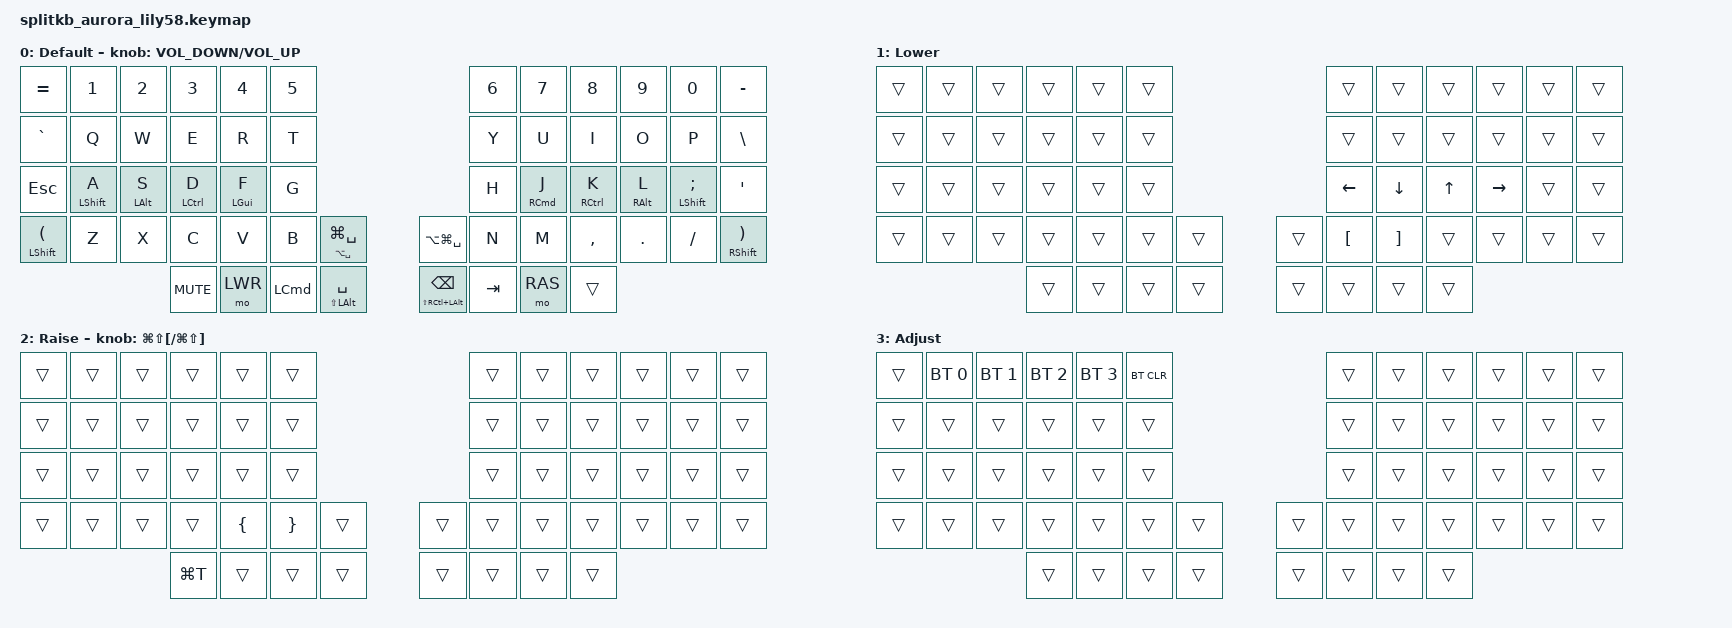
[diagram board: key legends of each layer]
/*
 * Copyright (c) 2020 The ZMK Contributors
 *
 * SPDX-License-Identifier: MIT
 */

#include <behaviors.dtsi>
#include <dt-bindings/zmk/keys.h>
#include <dt-bindings/zmk/bt.h>
#include <dt-bindings/zmk/ext_power.h>

#define DEFAULT 0
#define LWR     1
#define RAS     2
#define ADJ     3

/ {
    macros {
        hem: hem {
            label = "hem";
            compatible = "zmk,behavior-macro";
            #binding-cells = <0>;
            bindings
                = <&macro_tap &kp BSPC>
                , <&macro_wait_time 100>
                , <&macro_press &kp LSHFT &kp LCTRL &kp LALT>
                ;
        };
    };
};

/ {
    combos {
        compatible = "zmk,combos";
        combo_esc {
            timeout-ms = <50>;
            key-positions = <53 54>;
            bindings = <&kp ENTER>;
        };
    };
};

/ {
    conditional_layers {
        compatible = "zmk,conditional-layers";
        tri_layer {
            if-layers = <1 2>;
            then-layer = <3>;
        };
    };
};

/ {
    behaviors {
        hm: homerow_mods {
            compatible = "zmk,behavior-hold-tap";
            label = "HOMEROW_MODS";
            #binding-cells = <2>;
            tapping-term-ms = <200>;
            quick_tap_ms = <0>;
            flavor = "tap-preferred";
            bindings = <&kp>, <&kp>;
        };
        hs: homerow_shift {
            compatible = "zmk,behavior-hold-tap";
            label = "HOMEROW_MODS";
            #binding-cells = <2>;
            tapping-term-ms = <250>;
            quick_tap_ms = <0>;
            flavor = "tap-preferred";
            bindings = <&kp>, <&kp>;
        };
        am: amethyst_modifyers {
            compatible = "zmk,behavior-hold-tap";
            label = "AMETHYST_MODIFYER";
            #binding-cells = <2>;
            tapping-term-ms = <250>;
            quick_tap_ms = <0>;
            flavor = "tap-preferred";
            bindings = <&kp>, <&kp>;
        };
    };

	keymap {
		compatible = "zmk,keymap";

		default_layer {
            label = "Default";
			bindings = <
&kp EQUAL &kp N1        &kp N2      &kp N3      &kp N4         &kp N5                     									    &kp N6 		   &kp N7       &kp N8      &kp N9      &kp N0           &kp MINUS
&kp GRAVE &kp Q         &kp W       &kp E       &kp R          &kp T                      										&kp Y  		   &kp U        &kp I       &kp O       &kp P            &kp BSLH
&kp ESC   &hs LSHFT A   &hm LALT S  &hm LCTL D  &hm LGUI F     &kp G                      										&kp H  	       &hm RCMD J   &hm RCTRL K &hm RALT L  &hs LSHFT SEMI   &kp SQT
&mt LSHFT LPAR &kp Z    &kp X       &kp C       &kp V          &kp B       &mt LA(SPACE) LG(SPACE) 		&kp LA(LG(SPACE))       &kp N  	       &kp M        &kp COMMA   &kp DOT     &kp FSLH         &mt RSHFT RPAR
                                    &kp C_MUTE	&mo LWR		   &kp LCMD    &am LS(LALT) SPACE           &am LS(RC(LALT)) BSPC   &kp TAB        &mo RAS      &trans     
			>;
            sensor-bindings = <&inc_dec_kp C_VOLUME_DOWN C_VOLUME_UP>;
		};

		lower_layer {
            label = "Lower";
			bindings = <
&trans    &trans    &trans      &trans      &trans      &trans                                                                  &trans    &trans    &trans      &trans      &trans      &trans                       
&trans    &trans    &trans      &trans      &trans      &trans                                                                  &trans    &trans    &trans      &trans      &trans      &trans                       
&trans    &trans    &trans      &trans      &trans      &trans                                                                  &kp LEFT  &kp DOWN  &kp UP      &kp RIGHT   &trans      &trans                       
&trans    &trans    &trans      &trans      &trans      &trans    &trans                                              &trans    &kp LBKT  &kp RBKT  &trans      &trans      &trans      &trans
                                &trans      &trans      &trans    &trans                                              &trans    &trans    &trans    &trans
			>;
		};

		raise_layer {
            label = "Raise";
			bindings = <
&trans    &trans    &trans      &trans      &trans      &trans                                                                  &trans    &trans    &trans      &trans      &trans      &trans                       
&trans    &trans    &trans      &trans      &trans      &trans                                                                  &trans    &trans    &trans      &trans      &trans      &trans                       
&trans    &trans    &trans      &trans      &trans      &trans                                                                  &trans    &trans    &trans      &trans      &trans      &trans                       
&trans    &trans    &trans      &trans      &kp LBRC    &kp RBRC  &trans                                              &trans    &trans    &trans    &trans      &trans      &trans      &trans
                                &kp LG(T)   &trans      &trans    &trans                                              &trans    &trans    &trans    &trans
			>;
            sensor-bindings = <&inc_dec_kp LG(LS(LBKT)) LG(LS(RBKT))>;
		};

		adjust_layer {
            label = "Adjust";
			bindings = <
&trans 	  &bt BT_SEL 0     &bt BT_SEL 1      &bt BT_SEL 2     &bt BT_SEL 3 	&bt BT_CLR                                          &trans    &trans    &trans      &trans      &trans      &trans
&trans    &trans           &trans            &trans           &trans        &trans                                              &trans    &trans    &trans      &trans      &trans      &trans                       
&trans    &trans           &trans            &trans           &trans        &trans                                              &trans    &trans    &trans      &trans      &trans      &trans                       
&trans    &trans           &trans            &trans           &trans        &trans      &trans                        &trans    &trans    &trans    &trans      &trans      &trans      &trans
                                             &trans           &trans        &trans      &trans                        &trans    &trans    &trans    &trans
			>;
		};
		
	};
};
